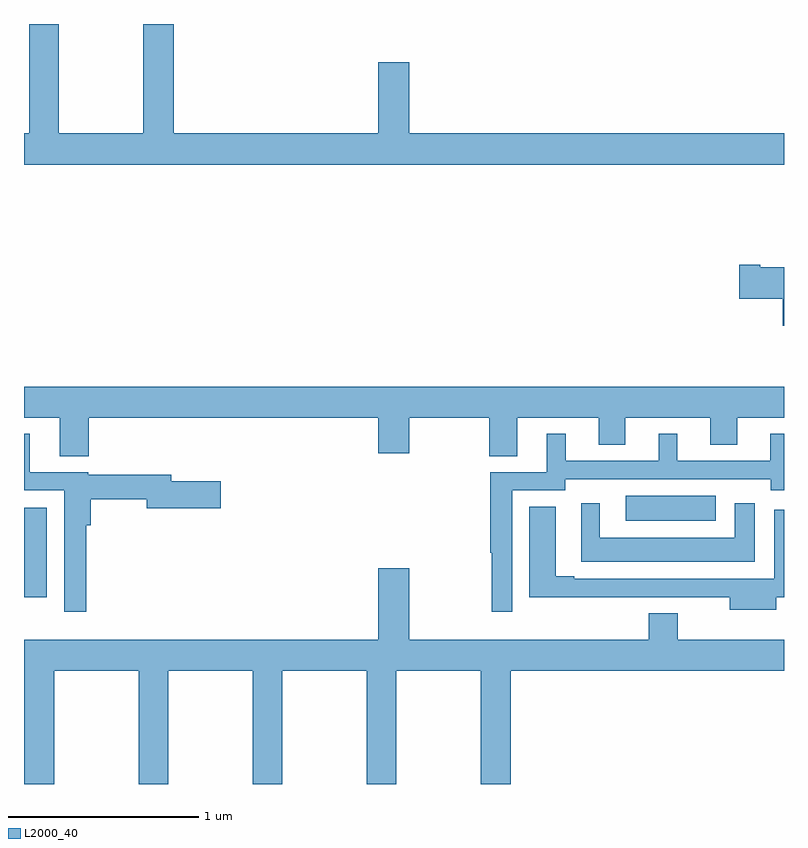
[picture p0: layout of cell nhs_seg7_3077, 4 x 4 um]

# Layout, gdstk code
import gdstk
lib = gdstk.Library(unit=1e-6, precision=1e-09)
def R(c, l, rs):  # rectangles x0, y0, x1, y1
    for r in rs: c.add(gdstk.rectangle(r[:2], r[2:], *l))
def P(c, l, *ps):  # polygons
    for p in ps: c.add(gdstk.Polygon(p, *l))
L2000_40 = (2000, 40)

nhs_seg7_3077 = lib.new_cell('nhs_seg7_3077')
R(nhs_seg7_3077, L2000_40, [(307,1020.982,307.12,1021.453), (310.167,1021.385,310.642,1021.516)])
P(nhs_seg7_3077, L2000_40, [(311,1023.424),(309.028,1023.424),(309.028,1023.799),(308.864,1023.799),(308.864,1023.424),(307.787,1023.424),(307.787,1024),(307.627,1024),(307.627,1023.424),(307.182,1023.424),(307.182,1024),(307.027,1024),(307.027,1023.424),(307,1023.424),(307,1023.26),(311,1023.26)],
  [(311,1022.719),(310.876,1022.719),(310.876,1022.732),(310.764,1022.732),(310.764,1022.554),(310.994,1022.554),(310.994,1022.412),(311,1022.412)],
  [(307.34,1021.928),(308.864,1021.928),(308.864,1021.74),(309.028,1021.74),(309.028,1021.928),(309.448,1021.928),(309.448,1021.726),(309.595,1021.726),(309.595,1021.928),(310.025,1021.928),(310.025,1021.786),(310.165,1021.786),(310.165,1021.928),(310.613,1021.928),(310.613,1021.786),(310.753,1021.786),(310.753,1021.928),(311,1021.928),(311,1022.092),(307,1022.092),(307,1021.928),(307.187,1021.928),(307.187,1021.726),(307.34,1021.726)],
  [(309.57,1021.545),(309.849,1021.545),(309.849,1021.605),(310.929,1021.605),(310.929,1021.545),(311,1021.545),(311,1021.843),(310.928,1021.843),(310.928,1021.701),(310.438,1021.701),(310.438,1021.843),(310.34,1021.843),(310.34,1021.701),(309.85,1021.701),(309.85,1021.843),(309.752,1021.843),(309.752,1021.641),(309.454,1021.641),(309.454,1021.218),(309.462,1021.218),(309.462,1020.906),(309.57,1020.906)],
  [(307.328,1021.361),(307.35,1021.361),(307.35,1021.498),(307.646,1021.498),(307.646,1021.451),(308.035,1021.451),(308.035,1021.593),(307.774,1021.593),(307.774,1021.627),(307.338,1021.627),(307.338,1021.641),(307.03,1021.641),(307.03,1021.843),(307,1021.843),(307,1021.545),(307.212,1021.545),(307.212,1020.906),(307.328,1020.906)],
  [(310.846,1021.477),(310.742,1021.477),(310.742,1021.297),(310.03,1021.297),(310.03,1021.477),(309.932,1021.477),(309.932,1021.169),(310.846,1021.169)],
  [(310.96,1020.982),(311,1020.982),(311,1021.444),(310.949,1021.444),(310.949,1021.08),(309.895,1021.08),(309.895,1021.093),(309.799,1021.093),(309.799,1021.459),(309.659,1021.459),(309.659,1020.982),(310.205,1020.982),(310.205,1020.984),(310.715,1020.984),(310.715,1020.917),(310.96,1020.917)],
  [(307.158,1020.596),(307.603,1020.596),(307.603,1020),(307.758,1020),(307.758,1020.596),(308.203,1020.596),(308.203,1020),(308.358,1020),(308.358,1020.596),(308.803,1020.596),(308.803,1020),(308.958,1020),(308.958,1020.596),(309.403,1020.596),(309.403,1020),(309.563,1020),(309.563,1020.596),(311,1020.596),(311,1020.76),(310.441,1020.76),(310.441,1020.899),(310.289,1020.899),(310.289,1020.76),(309.028,1020.76),(309.028,1021.135),(308.864,1021.135),(308.864,1020.76),(307,1020.76),(307,1020),(307.158,1020)])

lib.write_gds('nhs_seg7_3077.gds')
